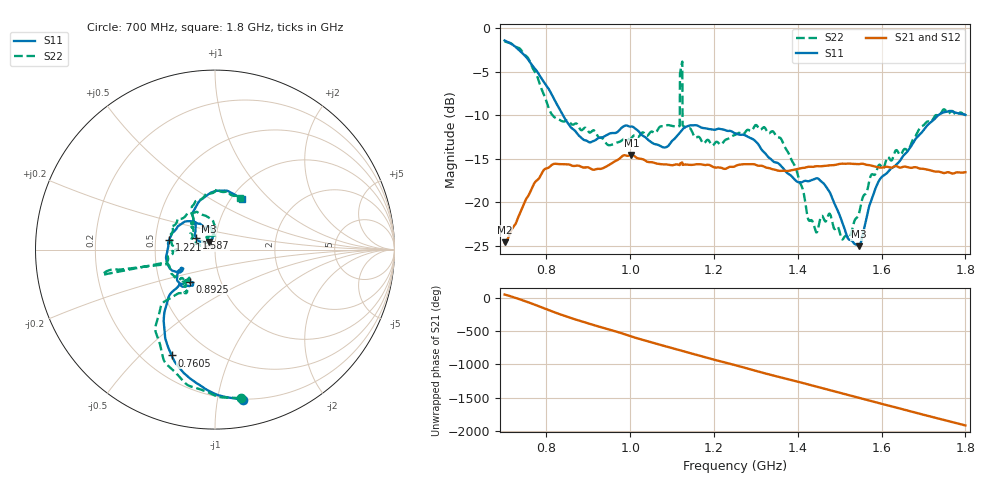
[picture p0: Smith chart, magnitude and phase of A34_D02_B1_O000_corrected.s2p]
! Created with skrf 1.9.0 (http://scikit-rf.org).
# Hz S RI R 50.0
!freq ReS11 ImS11 ReS21 ImS21 ReS12 ImS12 ReS22 ImS22
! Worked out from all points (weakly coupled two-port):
!   1601 points, 700 MHz to 1.8 GHz, reference 50 ohm
!   highest |S21| = -14.57 dB at 1.002 GHz (marker M1); lowest = -24.6 dB at 700.7 MHz (marker M2)
!   lowest |S11| = -25.1 dB at 1.545 GHz (marker M3), VSWR 1.12, Z = 46.4 + j4.04 ohm
!   |S11| at or under -10 dB: 839.4 MHz to 1.735 GHz (895.9 MHz wide, 69.6 % of centre)
!   |S22| runs from -24.3 to -1.5 dB; largest |S21 - S12| = 0.0035
!   S11 on the Smith chart (normalised r, x): 700 MHz: 0.20, -1.19; 760.5 MHz: 0.31, -0.62; 892.5 MHz: 0.71, -0.27; 1.221 GHz: 0.59, +0.07; 1.587 GHz: 0.80, +0.10; 1.8 GHz: 1.12, +0.70
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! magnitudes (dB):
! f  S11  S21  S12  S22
! 700 MHz  -1.4  -24.6  -24.4  -1.5
! 700.7 MHz  -1.4  -24.6  -24.3  -1.5
! 760.5 MHz  -3.9  -18.9  -18.8  -3.9
! 814.1 MHz  -7.8  -15.7  -15.7  -10.0
! 883.6 MHz  -12.6  -16.0  -15.8  -11.7
! 892.5 MHz  -12.9  -16.0  -16.1  -11.5
! 1.002 GHz  -11.3  -14.6  -14.7  -12.7
! 1.067 GHz  -13.4  -15.6  -15.5  -11.5
! 1.113 GHz  -12.3  -15.7  -15.8  -11.4
! 1.123 GHz  -11.7  -15.4  -15.4  -4.0
! 1.13 GHz  -11.4  -15.7  -15.8  -11.4
! 1.221 GHz  -11.6  -16.1  -16.2  -13.2
! 1.25 GHz  -12.1  -15.9  -15.8  -12.3
! 1.359 GHz  -15.8  -16.4  -16.4  -12.6
! 1.434 GHz  -17.5  -16.0  -15.9  -22.1
! 1.476 GHz  -18.8  -15.8  -15.8  -21.3
! 1.508 GHz  -22.6  -15.6  -15.6  -24.2
! 1.545 GHz  -25.1  -15.6  -15.6  -21.5
! 1.587 GHz  -18.2  -15.9  -15.9  -16.6
! 1.617 GHz  -16.4  -16.0  -15.9  -14.9
! 1.737 GHz  -9.9  -16.5  -16.6  -10.1
! 1.8 GHz  -10.0  -16.6  -16.6  -10.0
